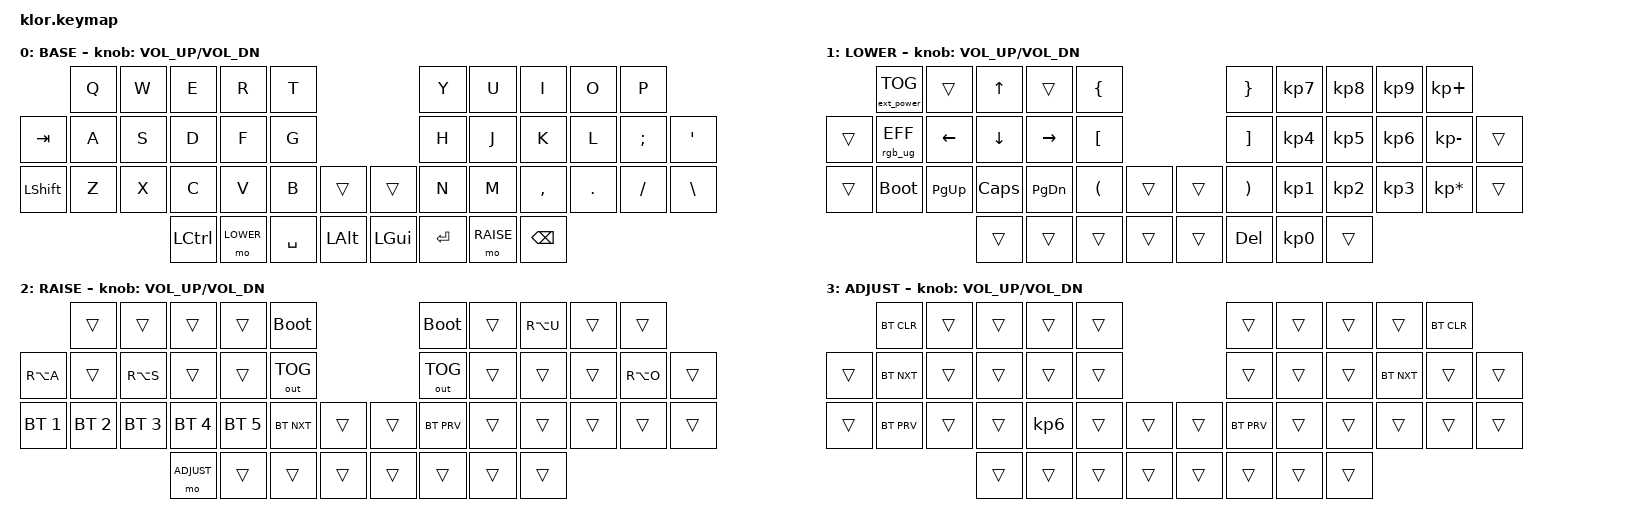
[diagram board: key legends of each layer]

//                               █         █    █            ▄▄▄▀▀▀▀▀▀▄▄▄        █▀▀▀▀▀▀▀▀▀▀█
//                               █        █     █          ▄▀            ▀▄      █          █
//                               █       █      █        ▄▀                ▀▄    █          █
//                               █      █       █        █                  █    █          █
//                               █     █        █       █                    █   █          █
//                               █    █         █       █                    █   █▄▄▄▄▄▄▄▄▄▄█
//                               █   █ █        █       █                    █   █      █
//                               █  █   █       █        █                  █    █       █
//                               █ █     █      █        ▀▄                ▄▀    █        █
//                               ██       █     █          ▀▄            ▄▀      █         █
//                               █         █    █▄▄▄▄▄▄▄▄    ▀▀▀▄▄▄▄▄▄▀▀▀        █          █
//
// ▄▄▄▄▄▄▄▄▄▄▄▄▄▄▄▄▄▄▄▄▄▄▄▄▄▄▄▄▄▄▄▄▄▄▄▄▄▄▄▄▄▄▄▄▄▄▄▄▄▄▄▄▄▄▄▄▄▄▄▄▄▄▄▄▄▄▄▄▄▄▄▄▄▄▄▄▄▄▄▄▄▄▄▄▄▄▄▄▄▄▄▄▄▄▄▄▄▄▄▄▄▄▄▄▄▄▄▄▄▄▄▄▄▄▄▄▄▄▄▄▄▄▄▄▄
       
#include <behaviors.dtsi>
#include <dt-bindings/zmk/keys.h>
#include <dt-bindings/zmk/bt.h>
#include <dt-bindings/zmk/outputs.h>
#include <dt-bindings/zmk/ext_power.h>
#include <dt-bindings/zmk/rgb.h>


#define BASE   0
#define LOWER  1
#define RAISE  2
#define ADJUST 3


/ {
    behaviors {
        hm: homerow_mods {
            compatible = "zmk,behavior-hold-tap";
            label = "HOMEROW_MODS";
            #binding-cells = <2>;
            tapping-term-ms = <150>;
            quick_tap_ms = <0>;
            flavor = "tap-preferred";
            bindings = <&kp>, <&kp>;
        };

    };

     combos {
            compatible = "zmk,combos";
            combo_esc {
                timeout-ms = <50>;
                key-positions = <0 1>;
                bindings = <&kp ESC>;
            };
    };



        keymap {
                compatible = "zmk,keymap";
// ▄▄▄▄▄▄▄▄▄▄▄▄▄▄▄▄▄▄▄▄▄▄▄▄▄▄▄▄▄▄▄▄▄▄▄▄▄▄▄▄▄▄▄▄▄▄▄▄▄▄▄▄▄▄▄▄▄▄▄▄▄▄▄▄▄▄▄▄▄▄▄▄▄▄▄▄▄▄▄▄▄▄▄▄▄▄▄▄▄▄▄▄▄▄▄▄▄▄▄▄▄▄▄▄▄▄▄▄▄▄▄▄▄▄▄▄▄▄▄▄▄▄▄▄▄▄▄▄▄▄▄▄▄▄▄▄▄▄▄▄▄▄


                base_layer {
// ┌───────────────────────────────────────────────────────────┐
label= "BASE"                                                  ;
// └───────────────────────────────────────────────────────────┘
/*           ┌─────────┬─────────┬─────────┬─────────┬─────────┐                    ┌─────────┬─────────┬─────────┬─────────┬─────────┐
             │    Q    │    W    │    E    │    R    │    T    │                    │    Y    │    U    │    I    │    O    │    P    │   
   ┌─────────┼─────────┼─────────┼─────────┼─────────┼─────────┤                    ├─────────┼─────────┼─────────┼─────────┼─────────┼─────────┐
   │   TAB   │    A    │    S    │    D    │    F    │    G    │                    │    H    │    J    │    K    │    L    │    ;    │    '    │
   ├─────────┼─────────┼─────────┼─────────┼─────────┼─────────┤╭────────╮╭────────╮├─────────┼─────────┼─────────┼─────────┼─────────┼─────────┤
   │ LSHIFT  │    Z    │    X    │    C    │    V    │    B    ││  MUTE  ││PLY/PSE ││    N    │    M    │    ,    │    .    │    /    │    \    │
   └─────────┴─────────┴─────────┼─────────┼─────────┼─────────┼╰────────╯╰────────╯┼─────────┼─────────┼─────────┼─────────┴─────────┴─────────┘
                                 │  CTRL   │  LOWER  │  SPACE  │   ALT   ││ CMD/WIN │  ENTER  │  RAISE  │  BSPCE  │  
                                 └─────────┴─────────┴─────────┴─────────┘└─────────┴─────────┴─────────┴─────────┘ */ 
 bindings = <
 //╷         ╷         ╷         ╷         ╷         ╷         ╷         ╷╷         ╷         ╷         ╷         ╷         ╷         ╷         ╷
              &kp Q     &kp W     &kp E     &kp R     &kp T                          &kp Y     &kp U     &kp I     &kp O     &kp P
    &kp TAB   &kp A     &kp S     &kp D     &kp F     &kp G                          &kp H     &kp J     &kp K     &kp L     &kp SEMI  &kp SQT
 &kp LSHIFT   &kp Z     &kp X     &kp C     &kp V     &kp B     &trans     &trans    &kp N     &kp M     &kp COMMA &kp DOT   &kp FSLH  &kp BSLH
                                  &kp LCTRL &mo LOWER &kp SPACE &kp LALT   &kp LGUI  &kp RET   &mo RAISE &kp BSPC    
                        >;
            sensor-bindings = <&inc_dec_kp C_VOL_UP C_VOL_DN>;
                };

// ▄▄▄▄▄▄▄▄▄▄▄▄▄▄▄▄▄▄▄▄▄▄▄▄▄▄▄▄▄▄▄▄▄▄▄▄▄▄▄▄▄▄▄▄▄▄▄▄▄▄▄▄▄▄▄▄▄▄▄▄▄▄▄▄▄▄▄▄▄▄▄▄▄▄▄▄▄▄▄▄▄▄▄▄▄▄▄▄▄▄▄▄▄▄▄▄▄▄▄▄▄▄▄▄▄▄▄▄▄▄▄▄▄▄▄▄▄▄▄▄▄▄▄▄▄▄▄▄▄▄▄▄▄▄▄▄▄▄▄▄▄▄


                lower_layer {
// ┌───────────────────────────────────────────────────────────┐
label= "LOWER"                                                 ;
// └───────────────────────────────────────────────────────────┘
/*           ┌─────────┬─────────┬─────────┬─────────┬─────────┐                    ┌─────────┬─────────┬─────────┬─────────┬─────────┐
             │RGBON/OFF│         │    UP   │         │    {    │                    │    }    │    7    │    8    │    9    │    +    │
   ┌─────────┼─────────┼─────────┼─────────┼─────────┼─────────┤                    ├─────────┼─────────┼─────────┼─────────┼─────────┼─────────┐
   │         │         │   LEFT  │  DOWN   │  RIGHT  │    [    │                    │    ]    │    4    │    5    │    6    │    -    │         │
   ├─────────┼─────────┼─────────┼─────────┼─────────┼─────────┤╭────────╮╭────────╮├─────────┼─────────┼─────────┼─────────┼─────────┼─────────┤
   │         │  RESET  │   P UP  │ C LOCK  │ P DOWN  │    (    ││        ││        ││    )    │    1    │    2    │    3    │    *    │         │
   └─────────┴─────────┴─────────┼─────────┼─────────┼─────────┼╰────────╯╰────────╯┼─────────┼─────────┼─────────┼─────────┴─────────┴─────────┘
                                 │         │         │         │         ││         │         │    0    │         │  
                                 └─────────┴─────────┴─────────┴─────────┘└─────────┴─────────┴─────────┴─────────┘ */ 
 bindings = <
 //╷         ╷         ╷         ╷         ╷         ╷         ╷         ╷╷         ╷         ╷         ╷         ╷         ╷         ╷         ╷
    &ext_power EP_TOG   &trans    &kp UP    &trans    &kp LBRC                       &kp RBRC  &kp KP_N7 &kp KP_N8 &kp KP_N9 &kp KP_PLUS
    &trans  &rgb_ug RGB_EFF    &kp LEFT  &kp DOWN  &kp RIGHT &kp LBKT                       &kp RBKT  &kp KP_N4 &kp KP_N5 &kp KP_N6 &kp KP_MINUS &trans
    &trans    &bootloader    &kp PG_UP &kp CAPS  &kp PG_DN &kp LPAR  &trans     &trans    &kp RPAR  &kp KP_N1 &kp KP_N2 &kp KP_N3 &kp KP_MULTIPLY &trans
                                  &trans    &trans    &trans    &trans     &trans    &kp DELETE &kp KP_N0 &trans  
                        >;
            sensor-bindings = <&inc_dec_kp C_VOL_UP C_VOL_DN>;
                };

// ▄▄▄▄▄▄▄▄▄▄▄▄▄▄▄▄▄▄▄▄▄▄▄▄▄▄▄▄▄▄▄▄▄▄▄▄▄▄▄▄▄▄▄▄▄▄▄▄▄▄▄▄▄▄▄▄▄▄▄▄▄▄▄▄▄▄▄▄▄▄▄▄▄▄▄▄▄▄▄▄▄▄▄▄▄▄▄▄▄▄▄▄▄▄▄▄▄▄▄▄▄▄▄▄▄▄▄▄▄▄▄▄▄▄▄▄▄▄▄▄▄▄▄▄▄


                raise_layer {
// ┌───────────────────────────────────────────────────────────┐
label= "RAISE"                                                 ;
// └───────────────────────────────────────────────────────────┘
/*           ┌─────────┬─────────┬─────────┬─────────┬─────────┐                    ┌─────────┬─────────┬─────────┬─────────┬─────────┐
             │         │         │         │         │  BL     │                    │  BL     │         │    Ü    │         │         │
   ┌─────────┼─────────┼─────────┼─────────┼─────────┼─────────┤                    ├─────────┼─────────┼─────────┼─────────┼─────────┼─────────┐
   │    Ä    │         │    ß    │         │         │ OUT_TOG │                    │ OUT_TOG │         │         │         │    Ö    │         │
   ├─────────┼─────────┼─────────┼─────────┼─────────┼─────────┤╭────────╮╭────────╮├─────────┼─────────┼─────────┼─────────┼─────────┼─────────┤
   │ BT1     │  BT2    │   BT3   │   BT4   │   BT5   │BT next  ││        ││        ││ BT prev │         │         │         │         │         │
   └─────────┴─────────┴─────────┼─────────┼─────────┼─────────┼╰────────╯╰────────╯┼─────────┼─────────┼─────────┼─────────┴─────────┴─────────┘
                                 │ ADJUST  │         │         │         ││         │         │         │         │  
                                 └─────────┴─────────┴─────────┴─────────┘└─────────┴─────────┴─────────┴─────────┘ */ 
 bindings = <
 //╷         ╷         ╷         ╷         ╷         ╷         ╷         ╷╷         ╷         ╷         ╷         ╷         ╷         ╷         ╷
              &trans    &trans    &trans    &trans    &bootloader               &bootloader    &trans    &kp RA(U) &trans    &trans     
    &kp RA(A) &trans    &kp RA(S) &trans    &trans    &out OUT_TOG             &out OUT_TOG    &trans    &trans    &trans    &kp RA(O) &trans  
    &bt BT_SEL 1   &bt BT_SEL 2   &bt BT_SEL 3    &bt BT_SEL 4    &bt BT_SEL 5    &bt BT_NXT &trans    &trans   &bt BT_PRV    &trans    &trans    &trans    &trans    &trans
                                  &mo ADJUST &trans   &trans    &trans     &trans    &trans    &trans    &trans  
                        >;
                sensor-bindings = <&inc_dec_kp C_VOL_UP C_VOL_DN>;
                };

// ▄▄▄▄▄▄▄▄▄▄▄▄▄▄▄▄▄▄▄▄▄▄▄▄▄▄▄▄▄▄▄▄▄▄▄▄▄▄▄▄▄▄▄▄▄▄▄▄▄▄▄▄▄▄▄▄▄▄▄▄▄▄▄▄▄▄▄▄▄▄▄▄▄▄▄▄▄▄▄▄▄▄▄▄▄▄▄▄▄▄▄▄▄▄▄▄▄▄▄▄▄▄▄▄▄▄▄▄▄▄▄▄▄▄▄▄▄▄▄▄▄▄▄▄▄


                adjust_layer {
// ┌───────────────────────────────────────────────────────────┐
label= "ADJUST"                                                ;
// └───────────────────────────────────────────────────────────┘
/*           ┌─────────┬─────────┬─────────┬─────────┬─────────┐                    ┌─────────┬─────────┬─────────┬─────────┬─────────┐
             │         │         │         │         │         │                    │         │         │         │         │         │
   ┌─────────┼─────────┼─────────┼─────────┼─────────┼─────────┤                    ├─────────┼─────────┼─────────┼─────────┼─────────┼─────────┐
   │         │         │         │         │         │         │                    │         │         │         │         │         │         │
   ├─────────┼─────────┼─────────┼─────────┼─────────┼─────────┤╭────────╮╭────────╮├─────────┼─────────┼─────────┼─────────┼─────────┼─────────┤
   │         │         │         │         │         │         ││        ││        ││         │         │         │         │         │         │
   └─────────┴─────────┴─────────┼─────────┼─────────┼─────────┼╰────────╯╰────────╯┼─────────┼─────────┼─────────┼─────────┴─────────┴─────────┘
                                 │         │         │         │         ││         │         │         │         │  
                                 └─────────┴─────────┴─────────┴─────────┘└─────────┴─────────┴─────────┴─────────┘ */ 
 bindings = <
 //╷         ╷         ╷         ╷         ╷         ╷         ╷         ╷╷         ╷         ╷         ╷         ╷         ╷         ╷         ╷
             &bt BT_CLR &trans    &trans    &trans    &trans                         &trans    &trans    &trans    &trans    &bt BT_CLR   
    &trans   &bt BT_NXT &trans    &trans    &trans    &trans                         &trans    &trans    &trans    &bt BT_NXT &trans   &trans 
    &trans   &bt BT_PRV &trans    &trans    &kp KP_N6 &trans    &trans     &trans    &bt BT_PRV &trans   &trans    &trans    &trans    &trans    
                                  &trans    &trans    &trans    &trans     &trans    &trans    &trans    &trans    
                        >;
            sensor-bindings = <&inc_dec_kp C_VOL_UP C_VOL_DN>;
                };
        };
};
